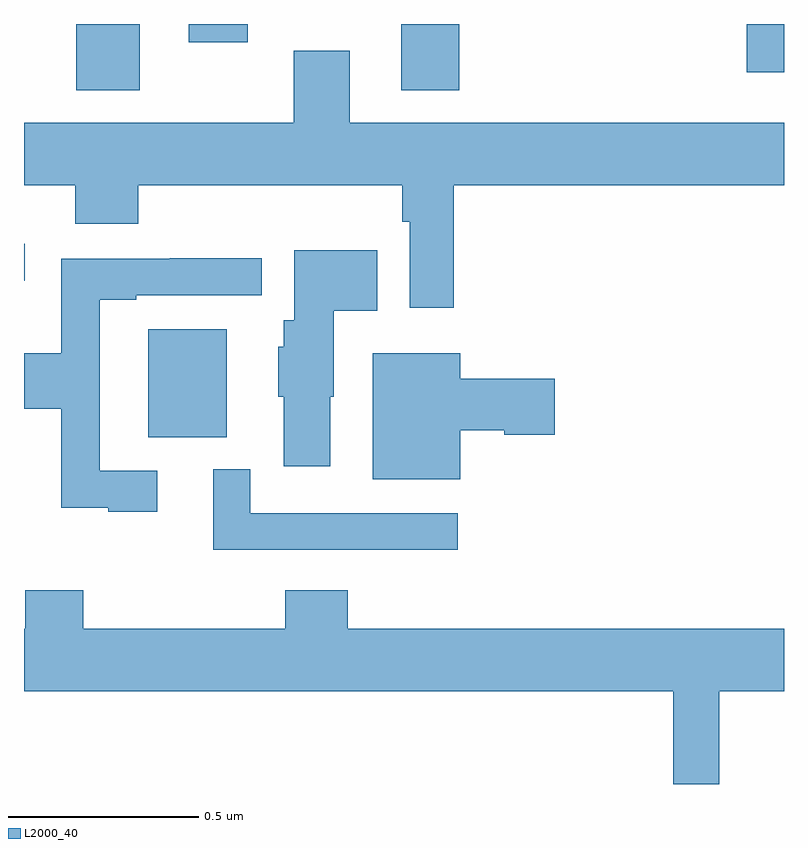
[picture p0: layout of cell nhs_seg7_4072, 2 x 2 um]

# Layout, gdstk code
import gdstk
lib = gdstk.Library(unit=1e-6, precision=1e-09)
def R(c, l, rs):  # rectangles x0, y0, x1, y1
    for r in rs: c.add(gdstk.rectangle(r[:2], r[2:], *l))
def P(c, l, *ps):  # polygons
    for p in ps: c.add(gdstk.Polygon(p, *l))
L2000_40 = (2000, 40)

nhs_seg7_4072 = lib.new_cell('nhs_seg7_4072')
R(nhs_seg7_4072, L2000_40, [(167.327,1039.913,167.533,1040.197), (167,1040.324,167.002,1040.422), (167.138,1040.826,167.305,1041), (167.993,1040.826,168.146,1041), (168.902,1040.873,169,1041), (167.433,1040.952,167.589,1041)])
P(nhs_seg7_4072, L2000_40, [(168.131,1040.576),(169,1040.576),(169,1040.74),(167.857,1040.74),(167.857,1040.93),(167.71,1040.93),(167.71,1040.74),(167,1040.74),(167,1040.576),(167.135,1040.576),(167.135,1040.474),(167.3,1040.474),(167.3,1040.576),(167.995,1040.576),(167.995,1040.48),(168.015,1040.48),(168.015,1040.253),(168.131,1040.253)],
  [(167.806,1040.019),(167.815,1040.019),(167.815,1040.246),(167.93,1040.246),(167.93,1040.404),(167.711,1040.404),(167.711,1040.22),(167.684,1040.22),(167.684,1040.151),(167.669,1040.151),(167.669,1040.019),(167.684,1040.019),(167.684,1039.836),(167.806,1039.836)],
  [(167.35,1039.824),(167.199,1039.824),(167.199,1040.274),(167.296,1040.274),(167.296,1040.286),(167.626,1040.286),(167.626,1040.384),(167.383,1040.384),(167.383,1040.382),(167.098,1040.382),(167.098,1040.134),(167,1040.134),(167,1039.987),(167.098,1039.987),(167.098,1039.727),(167.222,1039.727),(167.222,1039.716),(167.35,1039.716)],
  [(168.148,1039.931),(168.264,1039.931),(168.264,1039.919),(168.397,1039.919),(168.397,1040.066),(168.148,1040.066),(168.148,1040.134),(167.918,1040.134),(167.918,1039.802),(168.148,1039.802)],
  [(168.142,1039.713),(167.595,1039.713),(167.595,1039.828),(167.498,1039.828),(167.498,1039.617),(168.142,1039.617)],
  [(168.829,1039.244),(169,1039.244),(169,1039.408),(167.852,1039.408),(167.852,1039.51),(167.687,1039.51),(167.687,1039.408),(167.156,1039.408),(167.156,1039.51),(167.003,1039.51),(167.003,1039.408),(167,1039.408),(167,1039.244),(168.708,1039.244),(168.708,1039),(168.829,1039)])

lib.write_gds('nhs_seg7_4072.gds')
